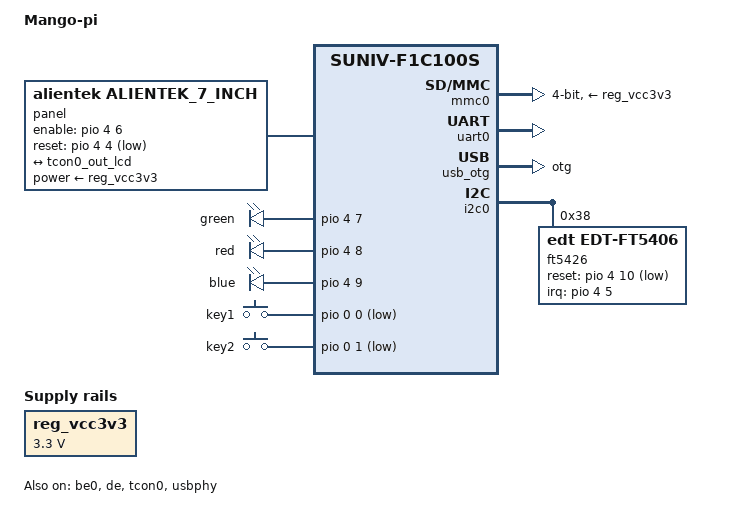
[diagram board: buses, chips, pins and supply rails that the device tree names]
// SPDX-License-Identifier: (GPL-2.0+ OR X11)
/*
 * Copyright 2018 Icenowy Zheng <icenowy@aosc.io>
 */

/dts-v1/;
#include "suniv-f1c100s.dtsi"
#include <dt-bindings/gpio/gpio.h>
#include <dt-bindings/input/input.h>
#include <dt-bindings/interrupt-controller/irq.h>

/ {
	model = "Mango-pi";
	compatible = "mango,mango-pi", "allwinner,suniv-f1c100s";

	aliases {
		serial0 = &uart0;
	};

	chosen {
		stdout-path = "serial0:115200n8";
	};

	panel: panel {
		compatible = "alientek,alientek_7_inch", "simple-panel";
		#address-cells = <1>;
		#size-cells = <0>;
		enable-gpios = <&pio 4 6 GPIO_ACTIVE_HIGH>;
		reset-gpios = <&pio 4 4 GPIO_ACTIVE_LOW>;
		power-supply = <&reg_vcc3v3>;
 		port@0 {
			reg = <0>;
			#address-cells = <1>;
			#size-cells = <0>;

 			panel_input: endpoint@0 {
				reg = <0>;
				remote-endpoint = <&tcon0_out_lcd>;
			};
		};
	};

	reg_vcc3v3: vcc3v3 {
		compatible = "regulator-fixed";
		regulator-name = "vcc3v3";
		regulator-min-microvolt = <3300000>;
		regulator-max-microvolt = <3300000>;
	};

	leds {
		compatible = "gpio-leds";
		led1 {
			label = "green";
			default-state = "on";
			linux,default-trigger = "heartbeat";
			gpios = <&pio 4 7 GPIO_ACTIVE_HIGH>;
		};
		led2 {
			label = "red";
			default-state = "on";
			linux,default-trigger = "heartbeat";
			gpios = <&pio 4 8 GPIO_ACTIVE_HIGH>;
		};
		led3 {
			label = "blue";
			default-state = "heartbeat";
			gpios = <&pio 4 9 GPIO_ACTIVE_HIGH>;
		};
	};

	gpio-keys {
		compatible = "gpio-keys-scan";
        #address-cells = <1>;
        #size-cells = <1>;
        status = "okay";
        autorepeat;
		key1 {
			label = "key1";
			linux,code = <1>;
			gpios = <&pio 0 0 GPIO_ACTIVE_LOW>;
		};

		key2 {
			label = "key2";
			linux,code = <28>;
			gpios = <&pio 0 1 GPIO_ACTIVE_LOW>;
		};

	};
};

&be0 {
	status = "okay";
};

&de {
	status = "okay";
};

&tcon0 {
	pinctrl-names = "default";
	pinctrl-0 = <&lcd_rgb666_pins>;
	status = "okay";
};

&tcon0_out {
	tcon0_out_lcd: endpoint@0 {
		reg = <0>;
		remote-endpoint = <&panel_input>;
	};
};

&mmc0 {
	vmmc-supply = <&reg_vcc3v3>;
	bus-width = <4>;
	broken-cd;
	status = "okay";
};

&uart0 {
	pinctrl-names = "default";
	pinctrl-0 = <&uart0_pe_pins>;
	status = "okay";
};

&otg_sram {
	status = "okay";
};

&usb_otg {
	dr_mode = "otg";
	status = "okay";
};

&usbphy {
	usb0_id_det-gpio = <&pio 4 2 GPIO_ACTIVE_HIGH>; /* PE2 */
	status = "okay";
};

&i2c0 {
    status = "okay";

    ft5426: touchscreen@38 {
        compatible = "edt,edt-ft5406";
        reg = <0x38>;
        interrupt-parent = <&pio>;
        interrupts = <4 5 IRQ_TYPE_EDGE_FALLING>; /* (PE5) */
        pinctrl-names = "default";
		pinctrl-0 = <&ts_int_pin>;
        reset-gpios = <&pio 4 10 GPIO_ACTIVE_LOW>; /* RST (PE10) */
		touchscreen-size-x = <800>;
		touchscreen-size-y = <480>;
		touchscreen-swapped-x-y;
    };
};

&pio {
    ts_reset_pin: ts_reset_pin {
        pins = "PE10";
        function = "gpio_out";
    };

    ts_int_pin: ts_int_pin {
        pins = "PE5";
        function = "gpio_in";
    };
};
